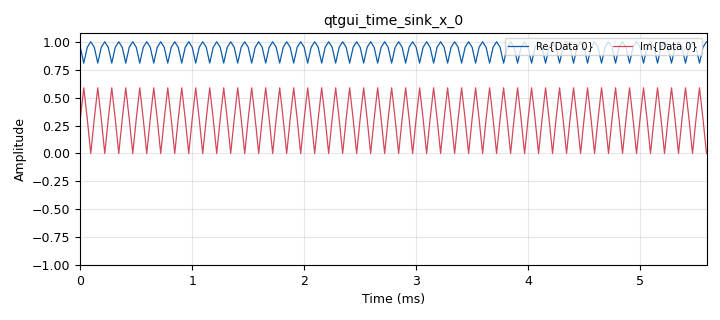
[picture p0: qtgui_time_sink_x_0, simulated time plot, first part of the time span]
options:
  parameters:
    author: Alex
    description: C:\Users\Alex\Dropbox\DegreeProject\Papers 2\Carpio_LoopezDeCastro_Jorge_tfg.pdf PAGINA 22
    generate_options: qt_gui
    id: FSK
    output_language: python
    title: Not titled yet
  states: {}

blocks:
- name: samp_rate
  id: variable
  parameters:
    value: '32000'
  states: {}
- name: analog_frequency_modulator_fc_0
  id: analog_frequency_modulator_fc
  parameters:
    sensitivity: math.pi*0.1
  states: {}
- name: analog_pll_freqdet_cf_0
  id: analog_pll_freqdet_cf
  parameters:
    max_freq: math.pi*0.1
    min_freq: '-math.pi*0.1'
    w: 2*math.pi*0.1
  states: {}
- name: blocks_char_to_float_0
  id: blocks_char_to_float
  parameters:
    scale: '1'
  states: {}
- name: blocks_file_sink_0
  id: blocks_file_sink
  parameters:
    file: D:\My Drive\ProgrammingProject\MaquinaNativa1\fsk_sink.bin
    type: byte
  states: {}
- name: blocks_float_to_uchar_0
  id: blocks_float_to_uchar
  parameters: {}
  states: {}
- name: blocks_keep_m_in_n_0
  id: blocks_keep_m_in_n
  parameters:
    m: '1'
    n: '4'
    offset: '0'
    type: byte
  states: {}
- name: blocks_repeat_0
  id: blocks_repeat
  parameters:
    interp: '2'
    type: float
  states: {}
- name: blocks_threshold_ff_0
  id: blocks_threshold_ff
  parameters:
    high: '0'
    init: '0'
    low: '0'
  states: {}
- name: blocks_throttle_0
  id: blocks_throttle
  parameters:
    samples_per_second: samp_rate
    type: complex
  states: {}
- name: blocks_vector_sink_x_0
  id: blocks_vector_sink_x
  parameters:
    type: byte
  states: {}
- name: blocks_vector_source_x_0
  id: blocks_vector_source_x
  parameters:
    repeat: 'True'
    type: byte
    vector: (1,0,1,0,1,0,1,0)
  states: {}
- name: digital_map_bb_0
  id: digital_map_bb
  parameters:
    map: (-1,1)
  states: {}
- name: import_0
  id: import
  parameters:
    imports: import math
  states: {}
- name: qtgui_time_sink_x_0
  id: qtgui_time_sink_x
  parameters:
    ctrlpanel: 'True'
    size: '1024'
    srate: samp_rate
    type: complex
  states: {}
- name: virtual_sink_0
  id: virtual_sink
  parameters:
    stream_id: fsk
  states: {}
- name: virtual_source_0
  id: virtual_source
  parameters:
    stream_id: fsk
  states: {}

connections:
- [analog_frequency_modulator_fc_0, '0', blocks_throttle_0, '0']
- [analog_pll_freqdet_cf_0, '0', blocks_threshold_ff_0, '0']
- [blocks_char_to_float_0, '0', blocks_repeat_0, '0']
- [blocks_float_to_uchar_0, '0', blocks_keep_m_in_n_0, '0']
- [blocks_keep_m_in_n_0, '0', blocks_file_sink_0, '0']
- [blocks_keep_m_in_n_0, '0', blocks_vector_sink_x_0, '0']
- [blocks_repeat_0, '0', analog_frequency_modulator_fc_0, '0']
- [blocks_threshold_ff_0, '0', blocks_float_to_uchar_0, '0']
- [blocks_throttle_0, '0', qtgui_time_sink_x_0, '0']
- [blocks_throttle_0, '0', virtual_sink_0, '0']
- [blocks_vector_source_x_0, '0', digital_map_bb_0, '0']
- [digital_map_bb_0, '0', blocks_char_to_float_0, '0']
- [virtual_source_0, '0', analog_pll_freqdet_cf_0, '0']

metadata:
  file_format: 1
